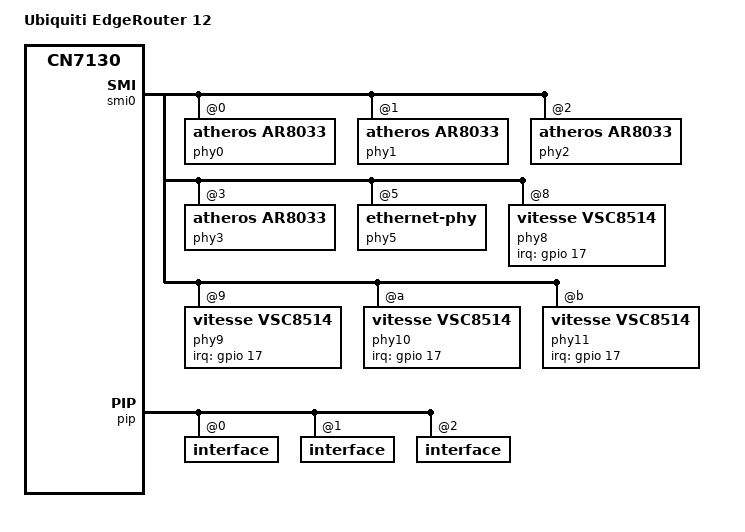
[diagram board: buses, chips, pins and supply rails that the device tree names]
// SPDX-License-Identifier: GPL-2.0-or-later OR MIT

// TODO: check to see if ports lan0-7 are grouped separately because they are all part of the internal switch. From the console, interrupt the regular boot process and run the command "mdio list" and "mii device"

#include "cn7130_ubnt_edgerouter-4-6p-12.dtsi"

/ {
	compatible = "ubnt,edgerouter-12", "cavium,cn7130";
	model = "Ubiquiti EdgeRouter 12";
};

&smi0 {
	phy0: ethernet-phy@0 {
		device_type = "ethernet-phy";
		compatible = "atheros,ar8033", "ethernet-phy-ieee802.3-c22";
		cavium,qlm-trim = "6,sgmii";
		reg = <0>;
	};

	phy1: ethernet-phy@1 {
		device_type = "ethernet-phy";
		compatible = "atheros,ar8033", "ethernet-phy-ieee802.3-c22";
		cavium,qlm-trim = "6,sgmii";
		reg = <1>;
	};

	phy2: ethernet-phy@2 {
		device_type = "ethernet-phy";
		compatible = "atheros,ar8033", "ethernet-phy-ieee802.3-c22";
		cavium,qlm-trim = "6,sgmii";
		reg = <2>;
	};

	phy3: ethernet-phy@3 {
		device_type = "ethernet-phy";
		compatible = "atheros,ar8033", "ethernet-phy-ieee802.3-c22";
		cavium,qlm-trim = "6,sgmii";
		reg = <3>;
	};

	phy5: ethernet-phy@5 {
		sfp = <&sfp>;
	};

	phy8: ethernet-phy@8 {
		device_type = "ethernet-phy";
		interrupts = <17 8>;
		interrupt-parent = <&gpio>;
		compatible = "vitesse,vsc8514", "ethernet-phy-ieee802.3-c22";
		reg = <8>;
	};

	phy9: ethernet-phy@9 {
		device_type = "ethernet-phy";
		interrupts = <17 8>;
		interrupt-parent = <&gpio>;
		compatible = "vitesse,vsc8514", "ethernet-phy-ieee802.3-c22";
		reg = <9>;
	};

	phy10: ethernet-phy@10 {
		device_type = "ethernet-phy";
		interrupts = <17 8>;
		interrupt-parent = <&gpio>;
		compatible = "vitesse,vsc8514", "ethernet-phy-ieee802.3-c22";
		reg = <10>;
	};

	phy11: ethernet-phy@11 {
		device_type = "ethernet-phy";
		interrupts = <17 8>;
		interrupt-parent = <&gpio>;
		compatible = "vitesse,vsc8514", "ethernet-phy-ieee802.3-c22";
		reg = <11>;
	};
};

&pip {
	interface@0 {
		ethernet@0 {
			label = "lan10";
		};

		ethernet@1 {
			label = "lan11";
		};

		ethernet@2 {
			label = "lan0";
		};

		ethernet@3 {
			label = "lan1";
		};
	};

	interface@1 {
		status = "okay";

		ethernet@0 {
			label = "lan2";
			status = "okay";
			phy-mode = "sgmii";
			phy-handle = <&phy8>;
			mtd-mac-address = <&eeprom 0>;
			mtd-mac-address-increment = <(4)>;
		};

		ethernet@1 {
			label = "lan3";
			status = "okay";
			phy-mode = "sgmii";
			phy-handle = <&phy9>;
			mtd-mac-address = <&eeprom 0>;
			mtd-mac-address-increment = <(5)>;
		};

		ethernet@2 {
			label = "lan4";
			status = "okay";
			phy-mode = "sgmii";
			phy-handle = <&phy10>;
			mtd-mac-address = <&eeprom 0>;
			mtd-mac-address-increment = <(6)>;
		};

		ethernet@3 {
			label = "lan5";
			status = "okay";
			phy-mode = "sgmii";
			phy-handle = <&phy11>;
			mtd-mac-address = <&eeprom 0>;
			mtd-mac-address-increment = <(7)>;
		};
	};

	interface@2 {
		status = "okay";

		ethernet@0 {
			label = "lan6";
			status = "okay";
			phy-mode = "sgmii";
			phy-handle = <&phy0>;
			mtd-mac-address = <&eeprom 0>;
			mtd-mac-address-increment = <(8)>;
		};

		ethernet@1 {
			label = "lan7";
			status = "okay";
			phy-mode = "sgmii";
			phy-handle = <&phy1>;
			mtd-mac-address = <&eeprom 0>;
			mtd-mac-address-increment = <(9)>;
		};

		ethernet@2 {
			label = "lan8";
			status = "okay";
			phy-mode = "sgmii";
			phy-handle = <&phy2>;
			mtd-mac-address = <&eeprom 0>;
			mtd-mac-address-increment = <(10)>;
		};

		ethernet@3 {
			label = "lan9";
			status = "okay";
			phy-mode = "sgmii";
			phy-handle = <&phy3>;
			mtd-mac-address = <&eeprom 0>;
			mtd-mac-address-increment = <(11)>;
		};
	};
};
